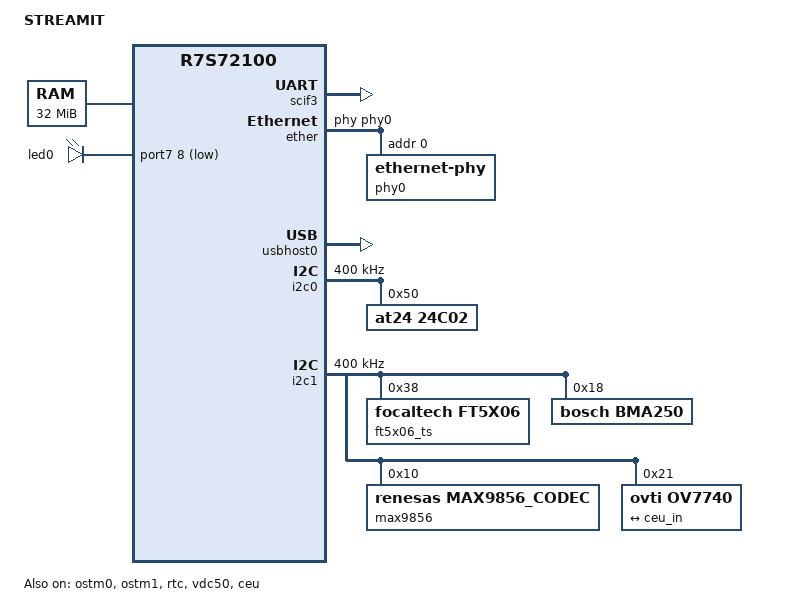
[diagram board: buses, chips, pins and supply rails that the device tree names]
/*
 * Device Tree Source for the STREAMIT board
 *
 * Copyright (C) 2017 Renesas Electronics
 *
 * This file is dual-licensed: you can use it either under the terms
 * of the GPL or the X11 license, at your option. Note that this dual
 * licensing only applies to this file, and not this project as a
 * whole.
 *
 *  a) This file is free software; you can redistribute it and/or
 *     modify it under the terms of the GNU General Public License as
 *     published by the Free Software Foundation; either version 2 of the
 *     License, or (at your option) any later version.
 *
 *     This file is distributed in the hope that it will be useful,
 *     but WITHOUT ANY WARRANTY; without even the implied warranty of
 *     MERCHANTABILITY or FITNESS FOR A PARTICULAR PURPOSE.  See the
 *     GNU General Public License for more details.
 *
 * Or, alternatively,
 *
 *  b) Permission is hereby granted, free of charge, to any person
 *     obtaining a copy of this software and associated documentation
 *     files (the "Software"), to deal in the Software without
 *     restriction, including without limitation the rights to use,
 *     copy, modify, merge, publish, distribute, sublicense, and/or
 *     sell copies of the Software, and to permit persons to whom the
 *     Software is furnished to do so, subject to the following
 *     conditions:
 *
 *     The above copyright notice and this permission notice shall be
 *     included in all copies or substantial portions of the Software.
 *
 *     THE SOFTWARE IS PROVIDED "AS IS", WITHOUT WARRANTY OF ANY KIND,
 *     EXPRESS OR IMPLIED, INCLUDING BUT NOT LIMITED TO THE WARRANTIES
 *     OF MERCHANTABILITY, FITNESS FOR A PARTICULAR PURPOSE AND
 *     NONINFRINGEMENT. IN NO EVENT SHALL THE AUTHORS OR COPYRIGHT
 *     HOLDERS BE LIABLE FOR ANY CLAIM, DAMAGES OR OTHER LIABILITY,
 *     WHETHER IN AN ACTION OF CONTRACT, TORT OR OTHERWISE, ARISING
 *     FROM, OUT OF OR IN CONNECTION WITH THE SOFTWARE OR THE USE OR
 *     OTHER DEALINGS IN THE SOFTWARE.
 */


/dts-v1/;

#define CONFIG_RZA1L	/* must be defined before including r7s72100.dtsi for RZ/A1L devices */
#include "r7s72100.dtsi"
#include <dt-bindings/gpio/gpio.h>
#include <dt-bindings/pinctrl/r7s72100-pinctrl.h>

/ {
	model = "STREAMIT";
	compatible = "renesas,streamit", "renesas,r7s72100";

	//no-heartbeat	/* Disables the LED heartbeat kernel thread */

	aliases {
		/* It is recommended to always map the serial console as /dev/ttySC0
		 * in you system regardless of the actual SCIF channel used */
		serial0 = &scif3;
	};

	chosen {
		/* Keep extra spaces at the end in case you want to add additional command line options from u-boot */
		bootargs = "ignore_loglevel earlyprintk earlycon rootfstype=axfs root=/dev/null rootflags=physaddr=0x18800000     ";
		stdout-path = "serial0:115200n8";
	};

	memory@0C000000 {
		device_type = "memory";
		reg = <0x0C000000 0x02000000>;	 /* 32Mbyte of External SDRAM on CS3 */
	};

	lbsc {
		#address-cells = <1>;
		#size-cells = <1>;
	};

	leds {
		status = "okay";
		compatible = "gpio-leds";

		led0 {
			gpios = <&port7 8 GPIO_ACTIVE_LOW>;
		};
	};

#if 0
	/* File System in XIP QSPI */
	/* Remember, we'll be in QSPI XIP mode at this point */
	/* Requires CONFIG_MTD_ROM=y */
	qspi@18000000 {
		compatible = "mtd-rom";
		probe-type = "map_rom";
		reg = <0x18000000 0x4000000>;	/* 64 MB*/
		bank-width = <4>;
		device-width = <1>;

		#address-cells = <1>;
		#size-cells = <1>;

		partition@800000 {
			label ="user";
			reg = <0x0800000 0x800000>; /* 8MB @ 0x18800000 */
			read-only;
		};
	};
#endif
};

/* EXTAL (remove if not populated) */
// The default jumpers are for the Stream it to boot using the USB clock
//&extal_clk {
//	clock-frequency = <13330000>;	/* 13.33MHz */
//};

&camera_clk {
	clock-frequency = <27000000>;	/* 27MHz */
};

/* USB_X1 (remove if not populated) */
&usb_x1_clk {
	clock-frequency = <48000000>;	/* 48MHz */
};

/* RTC_X1 (remove if not populated) */
&rtc_x1_clk {
	clock-frequency = <32768>;
};

/* Define your pin settings here
 *
 * Please refer to tables 54.xx in the Hardware Manual for the correct
 * 'Alternative Mode' number for each pin. Caution: Alt Mode numbers
 * vary per pin and per device tyep (RZ/A1L,A1M,A1H)
 *
 * Syntax:
 *    pinmux = <RZA1_PINMUX(Port, Pin, Alt Mode)>
 *
 * Example:
 *    pinmux = <RZA1_PINMUX(3, 0, 6)>   /* P3_0 = TxD2 */
/*
 */
&pinctrl {
	compatible = "renesas,r7s72102-ports";	/* required only for RZ/A1L */

	/* Serial Console */
	scif3_pins: serial3 {
		pinmux = <RZA1_PINMUX(7, 11, 5)>,	/* TxD3 */
			 <RZA1_PINMUX(7, 10, 5)>;	/* TxD3 */
	};

	/* Ethernet Pins */
	ether_pins: ether {
		pinmux = <RZA1_PINMUX(8, 14, 2)>,	/* ET_COL   */
			 <RZA1_PINMUX(9, 0, 2)>,	/* ET_MDC   */
			 <RZA1_PINMUX(9, 1, 2)>,	/* ET_MDIO  */
			 <RZA1_PINMUX(9, 2, 2)>,	/* ET_RXCLK */
			 <RZA1_PINMUX(9, 3, 2)>,	/* ET_RXER  */
			 <RZA1_PINMUX(9, 4, 2)>,	/* ET_RXDV  */
			 <RZA1_PINMUX(8, 4, 2)>,	/* ET_TXCLK */
			 <RZA1_PINMUX(8, 5, 2)>,	/* ET_TXER  */
			 <RZA1_PINMUX(8, 6, 2)>,	/* ET_TXEN  */
			 <RZA1_PINMUX(8, 15, 2)>,	/* ET_CRS   */
			 <RZA1_PINMUX(8, 0, 2)>,	/* ET_TXD0  */
			 <RZA1_PINMUX(8, 1, 2)>,	/* ET_TXD1  */
			 <RZA1_PINMUX(8, 2, 2)>,	/* ET_TXD2  */
			 <RZA1_PINMUX(8, 3, 2)>,	/* ET_TXD3  */
			 <RZA1_PINMUX(8, 7, 2)>,	/* ET_RXD0  */
			 <RZA1_PINMUX(8, 8, 2)>,	/* ET_RXD1  */
			 <RZA1_PINMUX(8, 9, 2)>,	/* ET_RXD2  */
			 <RZA1_PINMUX(8, 10, 2)>;	/* ET_RXD3  */
	};


	/* RIIC ch0 Pins (EEPROM) */
	i2c0_pins: i2c0 {
		pinmux = <RZA1_PINMUX(1, 0, 1)>,	/* RIIC0SCL */
			 <RZA1_PINMUX(1, 1, 1)>;	/* RIIC0SDA */
	};

	/* RIIC ch1 Pins (Touchscreen) */
	i2c1_pins: i2c1 {
		pinmux = <RZA1_PINMUX(1, 2, 1)>,	/* RIIC1SCL */
			 <RZA1_PINMUX(1, 3, 1)>;	/* RIIC1SDA */
	};

	/* IRQ3 (for Touchscreen) */
	irq3_pins: irq3 {
		pinmux = <RZA1_PINMUX(1, 11, 2)>;	/* IRQ3 */
	};

	/* VDC5 LCD ch 0 Pins */
	vdc50_pins: vdc50 {
		pinmux =
			<RZA1_PINMUX(8, 0, 1)>,	/* LCD0_DATA0 */
			<RZA1_PINMUX(8, 1, 1)>,	/* LCD0_DATA1 */
			<RZA1_PINMUX(8, 2, 1)>,	/* LCD0_DATA2 */
			<RZA1_PINMUX(8, 3, 1)>,	/* LCD0_DATA3 */
			<RZA1_PINMUX(8, 4, 1)>,	/* LCD0_DATA4 */
			<RZA1_PINMUX(8, 5, 1)>,	/* LCD0_DATA5 */
			<RZA1_PINMUX(8, 6, 1)>,	/* LCD0_DATA6 */
			<RZA1_PINMUX(8, 7, 1)>,	/* LCD0_DATA7 */

			<RZA1_PINMUX(6, 0, 2)>,	/* LCD0_DATA8 */
			<RZA1_PINMUX(6, 1, 2)>,	/* LCD0_DATA9 */
			<RZA1_PINMUX(6, 2, 2)>,	/* LCD0_DATA10 */
			<RZA1_PINMUX(6, 3, 2)>,	/* LCD0_DATA11 */
			<RZA1_PINMUX(6, 4, 2)>,	/* LCD0_DATA12 */
			<RZA1_PINMUX(6, 5, 2)>,	/* LCD0_DATA13 */
			<RZA1_PINMUX(6, 6, 2)>,	/* LCD0_DATA14 */
			<RZA1_PINMUX(6, 7, 2)>,	/* LCD0_DATA15 */

			//<RZA1_PINMUX(, , )>,	/* LCD0_DATA16 */
			//<RZA1_PINMUX(, , )>,	/* LCD0_DATA17 */
			//<RZA1_PINMUX(, , )>,	/* LCD0_DATA18 */
			//<RZA1_PINMUX(, , )>,	/* LCD0_DATA19 */
			//<RZA1_PINMUX(, , )>,	/* LCD0_DATA20 */
			//<RZA1_PINMUX(, , )>,	/* LCD0_DATA21 */
			//<RZA1_PINMUX(, , )>,	/* LCD0_DATA22 */
			//<RZA1_PINMUX(, , )>,	/* LCD0_DATA23 */

			/* TCON pins (some may not be used) */
			//<RZA1_PINMUX(8, 8, 1)>,	/* LCD0_TCON0 */
			//<RZA1_PINMUX(8 9, 1)>,	/* LCD0_TCON1 */
			<RZA1_PINMUX(8, 10, 1)>,	/* LCD0_TCON2 */
			<RZA1_PINMUX(8, 11, 1)>,	/* LCD0_TCON3 */
			<RZA1_PINMUX(8, 12, 1)>,	/* LCD0_TCON4 */
			//<RZA1_PINMUX(8, 13, 1)>,	/* LCD0_TCON5 */
			//<RZA1_PINMUX(8, 14, 1)>,	/* LCD0_TCON6 */

			<RZA1_PINMUX(7, 4, 6)>;	/* LCD0_CLK */
	};

	/* Audio ch 0 Pins */
	audio_pins:  audio0 {
		pinmux =
			<RZA1_PINMUX(6, 8, 3)>,		/* SSISCK0 */
			<RZA1_PINMUX(6, 9, 3)>,		/* SSIWS0 */
			<RZA1_PINMUX(6, 10, 3)>,	/* SSITxD0 */
			<RZA1_PINMUX(6, 11, 3)>;	/* SSIRxD0 */
	};

	/* CEU Camera Capture pins */
	vio_pins: vio {
		/* CEU pins: VIO_D[0-10], VIO_VD, VIO_HD, VIO_CLK */
		pinmux = <RZA1_PINMUX(4, 0, 2)>, /* VIO_VD */
			 <RZA1_PINMUX(4, 1, 2)>, /* VIO_HD */
			 <RZA1_PINMUX(1, 4, 4)>, /* VIO_D0 */
			 <RZA1_PINMUX(1, 5, 4)>, /* VIO_D1 */
			 <RZA1_PINMUX(1, 6, 4)>, /* VIO_D2 */
			 <RZA1_PINMUX(1, 7, 4)>, /* VIO_D3 */
			 <RZA1_PINMUX(1, 12, 4)>, /* VIO_D4 */
			 <RZA1_PINMUX(1, 13, 4)>, /* VIO_D5 */
			 <RZA1_PINMUX(1, 14, 4)>, /* VIO_D6 */
			 <RZA1_PINMUX(1, 15, 4)>, /* VIO_D7 */
			 <RZA1_PINMUX(3, 14, 2)>; /* VIO_CLK */
	};

};

/* High resolution System tick timers */
&ostm0 {
	status = "okay";
};

&ostm1 {
	status = "okay";
};

/* The MTU2 system timer is not really needed if you are using the higher
 * resolution OSTM timer */
# if 0
&mtu2 {
	status = "okay";
};
#endif

/* Real Time Clock */
&rtc {
	status = "okay";
};

/* Serial Console */
&scif3 {
	pinctrl-names = "default";
	pinctrl-0 = <&scif3_pins>;
	status = "okay";
};

/* Ethernet */
&ether {
	pinctrl-names = "default";
	pinctrl-0 = <&ether_pins>;
	status = "okay";
	renesas,no-ether-link;
	phy-handle = <&phy0>;
	phy0: ethernet-phy@0 {
		reg = <0>;
	};
};

&dma0  {
			/*slave id for another device*/
	slave_id=<	RZA1DMA_SLAVE_SDHI0_TX
			RZA1DMA_SLAVE_SDHI0_RX
			RZA1DMA_SLAVE_SDHI1_TX
			RZA1DMA_SLAVE_SDHI1_RX
			RZA1DMA_SLAVE_MMCIF_TX
			RZA1DMA_SLAVE_MMCIF_RX
			RZA1DMA_SLAVE_PCM_MEM_SSI0
			RZA1DMA_SLAVE_PCM_MEM_SRC1
			RZA1DMA_SLAVE_PCM_SSI0_MEM
			RZA1DMA_SLAVE_PCM_SRC0_MEM>;
		/* address of slave device*/
	addr=<	0xe804e030 /*first for SDHI0_TX*/
		0xe804e030
		0xe804e830
		0xe804e830
		0xe804c834
		0xe804c834
		0xe820b018
		0xe820970c
		0xe820b01c
		0xe8209718>;
		/*channel config (chcfg) for slave device, first for SDHI0_TX*/
	chcfg=<	0x1 0x0 0x1 0x1 0x1 0x2 0x2 0x0 /*.reqd .loen .hien .lvl .am .sds .dds .tm*/
		0x0 0x0 0x1 0x1 0x1 0x2 0x2 0x0
		0x1 0x0 0x1 0x1 0x1 0x2 0x2 0x0
		0x0 0x0 0x1 0x1 0x1 0x2 0x2 0x0
		0x1 0x0 0x1 0x1 0x1 0x2 0x2 0x0
		0x0 0x0 0x1 0x1 0x1 0x2 0x2 0x0
		0x1 0x0 0x1 0x1 0x1 0x2 0x2 0x0
		0x1 0x0 0x1 0x1 0x1 0x1 0x1 0x0
		0x0 0x0 0x1 0x1 0x1 0x2 0x2 0x0
		0x0 0x0 0x1 0x1 0x1 0x1 0x1 0x0>;

		/*dmas for slave device, first for SDHI0_TX*/
	dmars=<	0x1 0x30	/*.rid .mid*/
		0x2 0x30
		0x1 0x31
		0x2 0x31
		0x1 0x32
		0x2 0x32
		0x1 0x38
		0x1 0x41
		0x2 0x38
		0x2 0x40>;
};

/* USB Host ch0 */
&usbhost0 {
	status = "okay";
	xtal-48mhz;
};

/* RIIC0 (EEPROM) */
&i2c0 {
	pinctrl-names = "default";
	pinctrl-0 = <&i2c0_pins>;
	status = "okay";
	clock-frequency = <400000>;

	/* CAT24C02 EEPROM */
	/* 'eeprom' will show up under:
	 * /sys/bus/i2c/devices/0-0050/
	 */
	at24@50 {
		compatible = "at24,24c02";
		pagesize = <16>;
		reg = <0x50>;
	};
};

/* RIIC1 (Touchscreen, Accelerometer) */
&i2c1 {
	pinctrl-names = "default";
	pinctrl-0 = <&i2c1_pins>;
	status = "okay";
	clock-frequency = <400000>;

	/* Focaltech FT5x06 Capacitive Touch Panel Controller */
	ft5x06_ts@38 {
		compatible = "focaltech,ft5x06";
		reg = <0x38>; /* I2C address = 0x38 */

		pinctrl-names = "default";
		pinctrl-0 = <&irq3_pins>;
		interrupts = <GIC_SPI (35-32) IRQ_TYPE_LEVEL_LOW>; /* IRQ3 */

		touchscreen-size-x = <480>;
		touchscreen-size-y = <272>;
	};

	/* Bosch  Digital, triaxial acceleration sensor */
	/* Requries CONFIG_BMA180=y */
	/* to read:
	 * X axis: $ hexdump /sys/bus/iio/devices/iio:device0/in_accel_x_raw
	 * Y axis: $ hexdump /sys/bus/iio/devices/iio:device0/in_accel_y_raw
	 * Z axis: $ hexdump /sys/bus/iio/devices/iio:device0/in_accel_z_raw
	 *   temp: $ hexdump /sys/bus/iio/devices/iio:device0/in_temp_raw
	 */
	bma250@18 {
		compatible = "bosch,bma250";
			reg = <0x18>;
			//interrupts = <x x IRQ_TYPE_EDGE_RISING>;	/* not connected */
	};

	max9856: codec@10 {
		compatible = "renesas,max9856_codec";
		#sound-dai-cells = <0>;
		reg = <0x10>;

		pinctrl-names = "default";
		pinctrl-0 = <&audio_pins>;
	};

	ov7740: camera@21 {
		compatible = "ovti,ov7740";
		reg = <0x21>;

		clocks = <&camera_clk>;
		clock-names = "xvclk";
		assigned-clocks = <&camera_clk>;
		assigned-clock-rates = <27000000>;

		port {
			ov7740_out: endpoint {
				remote-endpoint = <&ceu_in>;
			};
		};
	};
};

/* LCD */
#define VDC5_BPP 16 /* 16bpp or 32bpp */
#define VDC5_FBSIZE (480*272*VDC5_BPP/8)
//#define VDC5_FB_ADDR 0	/* 0 = allocate memory at probe (don't use when using SDRAM) */
#define VDC5_FB_ADDR (0x60000000) /* fixed address in PAGE 0 */

/* EastRising ER-TFT043-3 */
/* OTA5180A 1440x544 System-On-Chip Driver for 480RGBx272 TFT LCD */
&vdc50 {
	pinctrl-names = "default";
	pinctrl-0 = <&vdc50_pins>;

	display = <&display0>;
	status = "okay";

	/* Set the physical frame buffer address for internal RAM. */
	fb_phys_addr = <VDC5_FB_ADDR>;
	fb_phys_size = <VDC5_FBSIZE>;

	panel_name = "ER-TFT043-3";
	panel_pixel_xres = <480>;	/* panel native resolution */
	panel_pixel_yres = <272>;	/* panel native resolution */


	/* See 'drivers/video/fbdev/renesas/vdc5fb.h' for valid choices
	* for panel_icksel, panel_ocksel, and out_format */
	panel_icksel = <3>;	/* 3=ICKSEL_P1CLK (Peripheral clock 1) */
	panel_ocksel = <0>;	/* (don't care when lvds=0 ) */
	out_format = <2>;	/* 0=RGB888, 1=RGB666, 2=RGB565 */
	use_lvds = <0>;		/* Set to 0 or 1 */

	/* Define how the TCON pins going to be used */
	/* From file [ drivers/video/fbdev/renesas/vdc5fb.h ]
	 * 0 = STVA/VS (VSYNC)
	 * 1 = STVB/VE (Vertical Enable)
	 * 2 = STH/SP/HS (HSYNC)
	 * 3 = STB/LP/HE (Horizontal Enable)
	 * 4 = CPV/GCK (Gate clock signal)
	 * 5 = POLA (VCOM voltage polarity control signal)
	 * 6 = POLB (VCOM voltage polarity control signal)
	 * 7 = DE (Data Enable)
	 * 0xff = pin not used */
	tcon_sel = <
		0xff	/* TCON0: */
		0xff	/* TCON1: */
		7	/* TCON2: DATA ENABLE */
		2	/* TCON3: HSYNC */
		0	/* TCON4: VSYNC */
		0xff	/* TCON5: */
		0xff	/* TCON6: */
		>;

	display0: display0 {
		bits-per-pixel = <VDC5_BPP>;
		bus-width = <24>;

		display-timings {
			native-mode = <&timing0>;
			timing0: timing0 {
				clock-frequency = <10000000>; /* P1 clk / 2 (9.0MHz is the min, so pick 10MHz because it will round down) */
				hactive = <480>;
				vactive = <272>;
				hback-porch = <47>;		/* H Blanking(88) - HSYNC width(41) */
				hfront-porch = <8>;		/* H Front porch(8) */
				vback-porch = <2>;		/* V Blanking(12) - VSYNC width(10) */
				vfront-porch = <3>;		/* V Front Porch(3) */
				hsync-len = <41>;		/* HSYNC width(41) */
				vsync-len = <10>;		/* VSYNC width(10) */
				hsync-active = <1>; /* HIGH */
				vsync-active = <1>; /* HIGH */
				de-active = <0>; /* LOW */
				pixelclk-active = <0>; /* ??? */
			};
		};
	};
}; /* LCD end */

/* Audio in/out */
/* requires
 * CONFIG_SOUND=y
 * CONFIG_SND=y
 * CONFIG_SND_SOC=y
 * CONFIG_SND_SCUX_RSKRZA1=y
 * CONFIG_RZA_DMA=y
 */
/ {
	sound_machine: sound@0 {
		compatible = "renesas,rskrza1_sound_alsa";
	};

	sound: scux-pcm-audio@e8208000 {
		compatible = "renesas,rskrza1_scux";
		reg = <0xe8208000 0x00001778>,
		      <0xe820b000 0x00002830>;
		channel = <0>;
	};
};

/* Camera Capture */
/* Requires the following to be enabled in the kernel:
     CONFIG_MEDIA_SUPPORT=y
     CONFIG_MEDIA_CAMERA_SUPPORT=y
     CONFIG_V4L_PLATFORM_DRIVERS=y
     CONFIG_VIDEO_RENESAS_CEU=y
     CONFIG_MEDIA_CONTROLLER=y
     CONFIG_VIDEO_V4L2_SUBDEV_API=y
     CONFIG_MEDIA_SUBDRV_AUTOSELECT=n    (NOTE this is =n)
     CONFIG_VIDEO_OV7740=y

  The board must be modified 16MB before you can use this camera
  interface.
*/
&ceu {
	pinctrl-names = "default";
	pinctrl-0 = <&vio_pins>;
	status = "okay";

	port {
		ceu_in: endpoint {
			remote-endpoint = <&ov7740_out>;
			hsync-active = <1>;
			vsync-active = <0>;
		};
	};
};
